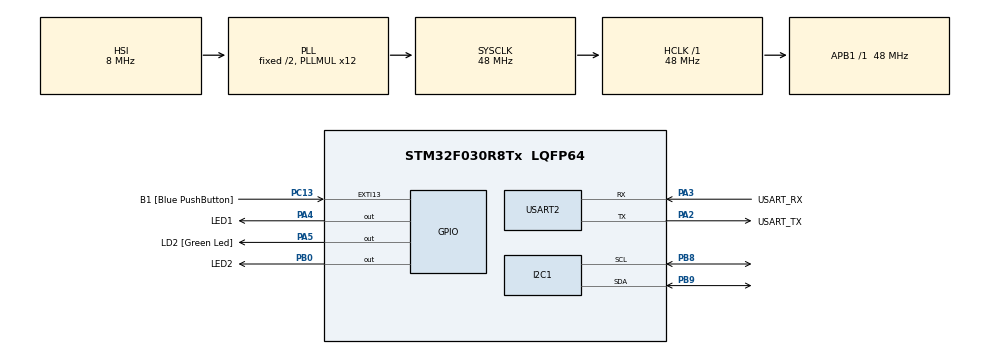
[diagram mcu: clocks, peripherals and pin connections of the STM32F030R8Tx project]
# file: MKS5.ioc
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Dma.Request0=USART2_RX
Dma.USART2_RX.0.Direction=DMA_PERIPH_TO_MEMORY
Dma.USART2_RX.0.Instance=DMA1_Channel5
Dma.USART2_RX.0.MemDataAlignment=DMA_MDATAALIGN_BYTE
Dma.USART2_RX.0.MemInc=DMA_MINC_ENABLE
Dma.USART2_RX.0.Mode=DMA_CIRCULAR
Dma.USART2_RX.0.PeriphDataAlignment=DMA_PDATAALIGN_BYTE
Dma.USART2_RX.0.PeriphInc=DMA_PINC_DISABLE
Dma.USART2_RX.0.Priority=DMA_PRIORITY_LOW
I2C1.Timing=0x00201D2B
Mcu.Family=STM32F0
Mcu.Name=STM32F030R8Tx
Mcu.Package=LQFP64
NVIC.DMA1_Channel4_5_IRQn=true\:0\:0\:false\:false\:true\:false\:true\:true
PA13.GPIO_Label=TMS
PA13.Mode=Serial_Wire
PA13.Signal=SYS_SWDIO
PA14.GPIO_Label=TCK
PA14.Mode=Serial_Wire
PA14.Signal=SYS_SWCLK
PA2.GPIO_Label=USART_TX
PA2.GPIO_Mode=GPIO_MODE_AF_PP
PA2.GPIO_PuPd=GPIO_NOPULL
PA2.GPIO_Speed=GPIO_SPEED_FREQ_LOW
PA2.Mode=Asynchronous
PA2.Signal=USART2_TX
PA3.GPIO_Label=USART_RX
PA3.GPIO_Mode=GPIO_MODE_AF_PP
PA3.GPIO_PuPd=GPIO_NOPULL
PA3.GPIO_Speed=GPIO_SPEED_FREQ_LOW
PA3.Mode=Asynchronous
PA3.Signal=USART2_RX
PA4.GPIO_Label=LED1
PA4.Signal=GPIO_Output
PA5.GPIO_Label=LD2 [Green Led]
PA5.GPIO_Mode=GPIO_MODE_OUTPUT_PP
PA5.GPIO_PuPd=GPIO_NOPULL
PA5.GPIO_Speed=GPIO_SPEED_FREQ_LOW
PA5.Signal=GPIO_Output
PB0.GPIO_Label=LED2
PB0.Signal=GPIO_Output
PB8.Mode=I2C
PB8.Signal=I2C1_SCL
PB9.Mode=I2C
PB9.Signal=I2C1_SDA
PC13.GPIO_Label=B1 [Blue PushButton]
PC13.GPIO_ModeDefaultEXTI=GPIO_MODE_IT_FALLING
PC13.Signal=GPXTI13
PC14-OSC32_IN.Mode=LSE-External-Oscillator
PC14-OSC32_IN.Signal=RCC_OSC32_IN
PC15-OSC32_OUT.Mode=LSE-External-Oscillator
PC15-OSC32_OUT.Signal=RCC_OSC32_OUT
PF0-OSC_IN.Mode=HSE-External-Clock-Source
PF0-OSC_IN.Signal=RCC_OSC_IN
PF1-OSC_OUT.Signal=RCC_OSC_OUT
ProjectManager.HeapSize=0x200
ProjectManager.StackSize=0x400
ProjectManager.TargetToolchain=CMake
RCC.AHBFreq_Value=48000000
RCC.APB1Freq_Value=48000000
RCC.APB1TimFreq_Value=48000000
RCC.HCLKFreq_Value=48000000
RCC.PLLMUL=RCC_PLL_MUL12
RCC.SYSCLKFreq_VALUE=48000000
RCC.SYSCLKSource=RCC_SYSCLKSOURCE_PLLCLK
USART2.VirtualMode-Asynchronous=VM_ASYNC
board=NUCLEO-F030R8

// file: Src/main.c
/* USER CODE BEGIN Header */
/**
  ******************************************************************************
  * @file           : main.c
  * @brief          : Main program body
  ******************************************************************************
  * @attention
  *
  * Copyright (c) 2025 STMicroelectronics.
  * All rights reserved.
  *
  * This software is licensed under terms that can be found in the LICENSE file
  * in the root directory of this software component.
  * If no LICENSE file comes with this software, it is provided AS-IS.
  *
  ******************************************************************************
  */
/* USER CODE END Header */
#include "main.h"
#include "stm32f0xx_hal_def.h"
#include "stm32f0xx_hal_i2c.h"

/* USER CODE BEGIN Includes */
#include <stdint.h>
#include <stdio.h>
#include <string.h>
#include <stdlib.h>
/* USER CODE END Includes */

I2C_HandleTypeDef hi2c1;

UART_HandleTypeDef huart2;
DMA_HandleTypeDef hdma_usart2_rx;

/* USER CODE BEGIN PV */
#define EEPROM_ADDR 0xA0
#define RX_BUFFER_LEN 64
#define CMD_BUFFER_LEN 256
static uint8_t uart_rx_buf[RX_BUFFER_LEN];
static volatile uint16_t uart_rx_read_ptr = 0;
#define uart_rx_write_ptr (RX_BUFFER_LEN - hdma_usart2_rx.Instance->CNDTR)
/* USER CODE END PV */

void SystemClock_Config(void);
static void MX_GPIO_Init(void);
static void MX_DMA_Init(void);
static void MX_USART2_UART_Init(void);
static void MX_I2C1_Init(void);

/* USER CODE BEGIN 0 */
int _write(int file, char const *buf, int n)  {
    /* stdout redirection to UART2 */
    HAL_UART_Transmit(&huart2, (uint8_t*)(buf), n, HAL_MAX_DELAY);
    return n;
}

void uart_process_command(char cmd[]) {
    printf("RX: '%s'\r\n", cmd);

    char *token;
    token = strtok(cmd, " ");

    if (strcasecmp(token, "HELLO") == 0) {
        printf("Communication OK\n");
    } else if (strcasecmp(token, "LED1") == 0) {
        token = strtok(NULL, " ");

        if (strcasecmp(token, "ON") == 0) {
            HAL_GPIO_WritePin(LED1_GPIO_Port, LED1_Pin, GPIO_PIN_SET);
        } else if (strcasecmp(token, "OFF") == 0) {
            HAL_GPIO_WritePin(LED1_GPIO_Port, LED1_Pin, GPIO_PIN_RESET);
        }

        printf("OK\n");
    } else if (strcasecmp(token, "LED2") == 0) {
        token = strtok(NULL, " ");

        if (strcasecmp(token, "ON") == 0) {
            HAL_GPIO_WritePin(LED2_GPIO_Port, LED2_Pin, GPIO_PIN_SET);
        } else if (strcasecmp(token, "OFF") == 0) {
            HAL_GPIO_WritePin(LED2_GPIO_Port, LED2_Pin, GPIO_PIN_RESET);
        }

        printf("OK\n");
    } else if (strcasecmp(token, "STATUS") == 0) {
        printf("LED1: ");
        if (HAL_GPIO_ReadPin(LED1_GPIO_Port, LED1_Pin) == GPIO_PIN_SET) {
            printf("ON\n");
        } else {
            printf("OFF\n");
        }

        printf("LED2: ");
        if (HAL_GPIO_ReadPin(LED2_GPIO_Port, LED2_Pin) == GPIO_PIN_SET) {
            printf("ON\n");
        } else {
            printf("OFF\n");
        }
    } else if (strcasecmp(token, "READ") == 0) {
        token = strtok(NULL, " ");
        uint8_t addr = atoi(token);
        uint8_t value = 0;

        HAL_I2C_Mem_Read(&hi2c1, EEPROM_ADDR, addr, I2C_MEMADD_SIZE_16BIT, &value, 1, 10);

        printf("Addr 0x%04X = 0x%02X \r\n", addr, value);
    } else if (strcasecmp(token, "WRITE") == 0) {
        token = strtok(NULL, " ");
        uint8_t addr = atoi(token);

        token = strtok(NULL, " ");
        uint8_t value = atoi(token);

        HAL_I2C_Mem_Write(&hi2c1, EEPROM_ADDR, addr, I2C_MEMADD_SIZE_16BIT, &value, 1, 1000);
        while (HAL_I2C_IsDeviceReady(&hi2c1, EEPROM_ADDR, 300, 1000) == HAL_TIMEOUT) {}

        printf("OK!\r\n");
    } else if (strcasecmp(token, "DUMP") == 0) {
        for (int addr = 0; addr < 0x000F; addr++) {
            uint8_t value = 0;
            HAL_I2C_Mem_Read(&hi2c1, EEPROM_ADDR, addr, I2C_MEMADD_SIZE_16BIT, &value, 1, 10);
            printf("0x%02X ", value);
        }
        printf("\r\n");
    }

}

static void uart_byte_available(uint8_t c)  {
    static uint16_t cnt;
    static char data[CMD_BUFFER_LEN];
    if (cnt < CMD_BUFFER_LEN && c >= 32 && c <= 126) data[cnt++] = c;
    if ((c == '\n' || c == '\r') && cnt > 0) {
        data[cnt] = '\0';
        uart_process_command(data);
        cnt = 0;
    }
}
/* USER CODE END 0 */

int main(void)
{

  /* MCU Configuration--------------------------------------------------------*/

  /* Reset of all peripherals, Initializes the Flash interface and the Systick. */
  HAL_Init();

  /* Configure the system clock */
  SystemClock_Config();

  /* Initialize all configured peripherals */
  MX_GPIO_Init();
  MX_DMA_Init();
  MX_USART2_UART_Init();
  MX_I2C1_Init();
  /* USER CODE BEGIN 2 */
  HAL_UART_Receive_DMA(&huart2, uart_rx_buf, RX_BUFFER_LEN);
  /* USER CODE END 2 */

  /* Infinite loop */
  /* USER CODE BEGIN WHILE */
 while (1)
  {
    while (uart_rx_read_ptr != uart_rx_write_ptr) {
        uint8_t b = uart_rx_buf[uart_rx_read_ptr];
        // increase read pointer
        if (++uart_rx_read_ptr >= RX_BUFFER_LEN) uart_rx_read_ptr = 0;
        // process every received byte with the RX state machine
        uart_byte_available(b);
    }
    /* USER CODE END WHILE */

  }
}

void SystemClock_Config(void)
{
  RCC_OscInitTypeDef RCC_OscInitStruct = {0};
  RCC_ClkInitTypeDef RCC_ClkInitStruct = {0};
  RCC_PeriphCLKInitTypeDef PeriphClkInit = {0};

  /** Initializes the RCC Oscillators according to the specified parameters
  * in the RCC_OscInitTypeDef structure.
  */
  RCC_OscInitStruct.OscillatorType = RCC_OSCILLATORTYPE_HSI;
  RCC_OscInitStruct.HSIState = RCC_HSI_ON;
  RCC_OscInitStruct.HSICalibrationValue = RCC_HSICALIBRATION_DEFAULT;
  RCC_OscInitStruct.PLL.PLLState = RCC_PLL_ON;
  RCC_OscInitStruct.PLL.PLLSource = RCC_PLLSOURCE_HSI;
  RCC_OscInitStruct.PLL.PLLMUL = RCC_PLL_MUL12;
  RCC_OscInitStruct.PLL.PREDIV = RCC_PREDIV_DIV1;
  if (HAL_RCC_OscConfig(&RCC_OscInitStruct) != HAL_OK)
  {
    Error_Handler();
  }

  /** Initializes the CPU, AHB and APB buses clocks
  */
  RCC_ClkInitStruct.ClockType = RCC_CLOCKTYPE_HCLK|RCC_CLOCKTYPE_SYSCLK
                              |RCC_CLOCKTYPE_PCLK1;
  RCC_ClkInitStruct.SYSCLKSource = RCC_SYSCLKSOURCE_PLLCLK;
  RCC_ClkInitStruct.AHBCLKDivider = RCC_SYSCLK_DIV1;
  RCC_ClkInitStruct.APB1CLKDivider = RCC_HCLK_DIV1;

  if (HAL_RCC_ClockConfig(&RCC_ClkInitStruct, FLASH_LATENCY_1) != HAL_OK)
  {
    Error_Handler();
  }
  PeriphClkInit.PeriphClockSelection = RCC_PERIPHCLK_I2C1;
  PeriphClkInit.I2c1ClockSelection = RCC_I2C1CLKSOURCE_HSI;
  if (HAL_RCCEx_PeriphCLKConfig(&PeriphClkInit) != HAL_OK)
  {
    Error_Handler();
  }
}

static void MX_I2C1_Init(void)
{

  hi2c1.Instance = I2C1;
  hi2c1.Init.Timing = 0x00201D2B;
  hi2c1.Init.OwnAddress1 = 0;
  hi2c1.Init.AddressingMode = I2C_ADDRESSINGMODE_7BIT;
  hi2c1.Init.DualAddressMode = I2C_DUALADDRESS_DISABLE;
  hi2c1.Init.OwnAddress2 = 0;
  hi2c1.Init.OwnAddress2Masks = I2C_OA2_NOMASK;
  hi2c1.Init.GeneralCallMode = I2C_GENERALCALL_DISABLE;
  hi2c1.Init.NoStretchMode = I2C_NOSTRETCH_DISABLE;
  if (HAL_I2C_Init(&hi2c1) != HAL_OK)
  {
    Error_Handler();
  }

  /** Configure Analogue filter
  */
  if (HAL_I2CEx_ConfigAnalogFilter(&hi2c1, I2C_ANALOGFILTER_ENABLE) != HAL_OK)
  {
    Error_Handler();
  }

  /** Configure Digital filter
  */
  if (HAL_I2CEx_ConfigDigitalFilter(&hi2c1, 0) != HAL_OK)
  {
    Error_Handler();
  }

}

static void MX_USART2_UART_Init(void)
{

  huart2.Instance = USART2;
  huart2.Init.BaudRate = 38400;
  huart2.Init.WordLength = UART_WORDLENGTH_8B;
  huart2.Init.StopBits = UART_STOPBITS_1;
  huart2.Init.Parity = UART_PARITY_NONE;
  huart2.Init.Mode = UART_MODE_TX_RX;
  huart2.Init.HwFlowCtl = UART_HWCONTROL_NONE;
  huart2.Init.OverSampling = UART_OVERSAMPLING_16;
  huart2.Init.OneBitSampling = UART_ONE_BIT_SAMPLE_DISABLE;
  huart2.AdvancedInit.AdvFeatureInit = UART_ADVFEATURE_NO_INIT;
  if (HAL_UART_Init(&huart2) != HAL_OK)
  {
    Error_Handler();
  }

}

static void MX_DMA_Init(void)
{

  /* DMA controller clock enable */
  __HAL_RCC_DMA1_CLK_ENABLE();

  /* DMA interrupt init */
  /* DMA1_Channel4_5_IRQn interrupt configuration */
  HAL_NVIC_SetPriority(DMA1_Channel4_5_IRQn, 0, 0);
  HAL_NVIC_EnableIRQ(DMA1_Channel4_5_IRQn);

}

static void MX_GPIO_Init(void)
{
  GPIO_InitTypeDef GPIO_InitStruct = {0};

  /* GPIO Ports Clock Enable */
  __HAL_RCC_GPIOC_CLK_ENABLE();
  __HAL_RCC_GPIOF_CLK_ENABLE();
  __HAL_RCC_GPIOA_CLK_ENABLE();
  __HAL_RCC_GPIOB_CLK_ENABLE();

  /*Configure GPIO pin Output Level */
  HAL_GPIO_WritePin(GPIOA, LED1_Pin|LD2_Pin, GPIO_PIN_RESET);

  /*Configure GPIO pin Output Level */
  HAL_GPIO_WritePin(LED2_GPIO_Port, LED2_Pin, GPIO_PIN_RESET);

  /*Configure GPIO pin : B1_Pin */
  GPIO_InitStruct.Pin = B1_Pin;
  GPIO_InitStruct.Mode = GPIO_MODE_IT_FALLING;
  GPIO_InitStruct.Pull = GPIO_NOPULL;
  HAL_GPIO_Init(B1_GPIO_Port, &GPIO_InitStruct);

  /*Configure GPIO pins : LED1_Pin LD2_Pin */
  GPIO_InitStruct.Pin = LED1_Pin|LD2_Pin;
  GPIO_InitStruct.Mode = GPIO_MODE_OUTPUT_PP;
  GPIO_InitStruct.Pull = GPIO_NOPULL;
  GPIO_InitStruct.Speed = GPIO_SPEED_FREQ_LOW;
  HAL_GPIO_Init(GPIOA, &GPIO_InitStruct);

  /*Configure GPIO pin : LED2_Pin */
  GPIO_InitStruct.Pin = LED2_Pin;
  GPIO_InitStruct.Mode = GPIO_MODE_OUTPUT_PP;
  GPIO_InitStruct.Pull = GPIO_NOPULL;
  GPIO_InitStruct.Speed = GPIO_SPEED_FREQ_LOW;
  HAL_GPIO_Init(LED2_GPIO_Port, &GPIO_InitStruct);

}

void Error_Handler(void)
{
  __disable_irq();
  while (1)
  {
  }
}
